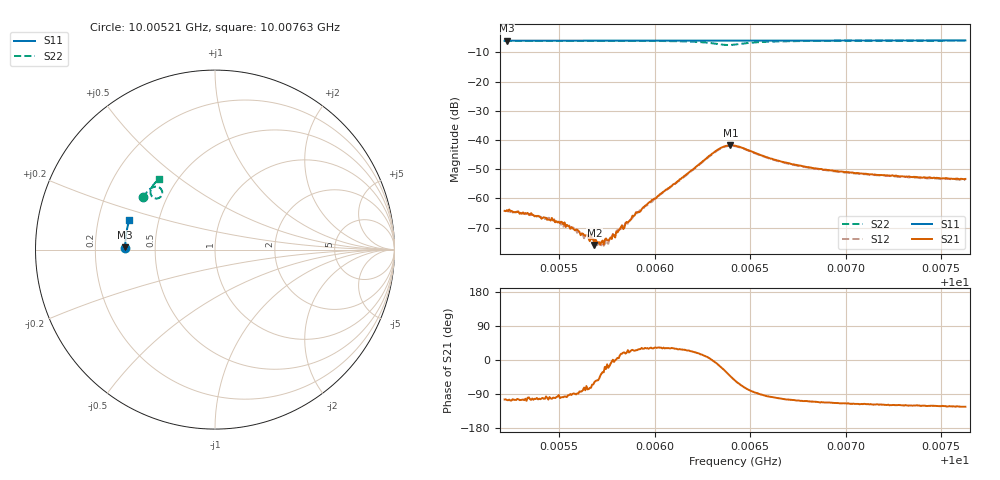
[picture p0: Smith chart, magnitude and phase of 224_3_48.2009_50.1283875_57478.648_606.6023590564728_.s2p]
#  HZ  S  RI  R  50.00
! Rohde & Schwarz Vector Network Analyzer
! Rohde-Schwarz,ZNB20-2Port,1311601062101988,3.16
! Created: UTC 3/20/2024, 11:46:05 AM
! freq[Hz]  re:S11  im:S11  re:S21  im:S21  re:S12  im:S12  re:S22  im:S22
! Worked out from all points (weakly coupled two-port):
!   401 points, 10.00521 GHz to 10.00763 GHz, reference 50 ohm
!   highest |S21| = -41.82 dB at 10.0064 GHz (marker M1); lowest = -75.9 dB at 10.00568 GHz (marker M2)
!   lowest |S11| = -6.0 dB at 10.00523 GHz (marker M3), VSWR 3.00, Z = 16.7 + j0.543 ohm
!   |S11| at or under -10 dB: nowhere
!   |S22| runs from -7.5 to -6.0 dB; largest |S21 - S12| = 0.00049
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1.0005214e10  -0.5001 0.0114  -0.00015 -0.000593  -0.000167 -0.000589  -0.4014 0.2907
1.0005226e10  -0.5 0.0122  -0.00017 -0.000604  -0.000143 -0.000599  -0.4011 0.2913
1.0005341e10  -0.5 0.0197  -7.82e-05 -0.000518  -8.13e-05 -0.000538  -0.3963 0.298
1.0005461e10  -0.4999 0.0275  -0.0001 -0.000452  -5.37e-05 -0.00044  -0.3911 0.3052
1.0005516e10  -0.4998 0.031  -5.44e-05 -0.000386  -4.15e-05 -0.000372  -0.3886 0.3086
1.0005564e10  -0.4997 0.0341  -1.19e-05 -0.000323  3.27e-05 -0.000304  -0.3865 0.3115
1.0005618e10  -0.4997 0.0377  3.18e-05 -0.000249  5.55e-05 -0.000252  -0.3839 0.3148
1.0005684e10  -0.4993 0.0421  8.37e-05 -0.000136  0.000124 -0.000156  -0.3806 0.3188
1.0005708e10  -0.4992 0.0435  0.000116 -0.000136  0.000114 -0.000122  -0.3794 0.3205
1.0005745e10  -0.4991 0.0459  0.000189 -8.38e-05  0.000191 -5.25e-05  -0.3773 0.3227
1.0005781e10  -0.499 0.0484  0.000242 2.58e-06  0.000247 2.59e-06  -0.3752 0.325
1.0005895e10  -0.4983 0.0557  0.000469 0.000212  0.000456 0.000227  -0.3677 0.3326
1.000592e10  -0.4981 0.0573  0.000511 0.000278  0.000536 0.000307  -0.366 0.3341
1.0006022e10  -0.4977 0.0639  0.000954 0.000613  0.000902 0.000648  -0.3572 0.3411
1.0006312e10  -0.4949 0.0825  0.00618 -0.00047  0.00607 -0.000168  -0.2982 0.3334
1.000636e10  -0.4944 0.0852  0.00696 -0.00321  0.00695 -0.00283  -0.2951 0.3074
1.0006396e10  -0.4941 0.0874  0.00594 -0.00552  0.00611 -0.00508  -0.308 0.29
1.000642e10  -0.4941 0.0889  0.00467 -0.00647  0.00494 -0.00609  -0.3212 0.2849
1.0006631e10  -0.4923 0.1022  -0.000762 -0.00449  -0.000562 -0.00445  -0.3594 0.3258
1.0006824e10  -0.4902 0.1145  -0.00111 -0.00313  -0.00094 -0.00314  -0.3511 0.3485
1.0007228e10  -0.4844 0.1401  -0.00121 -0.00215  -0.00103 -0.00218  -0.3304 0.3754
1.0007626e10  -0.4773 0.1649  -0.00119 -0.0018  -0.00102 -0.00178  -0.3101 0.3954
